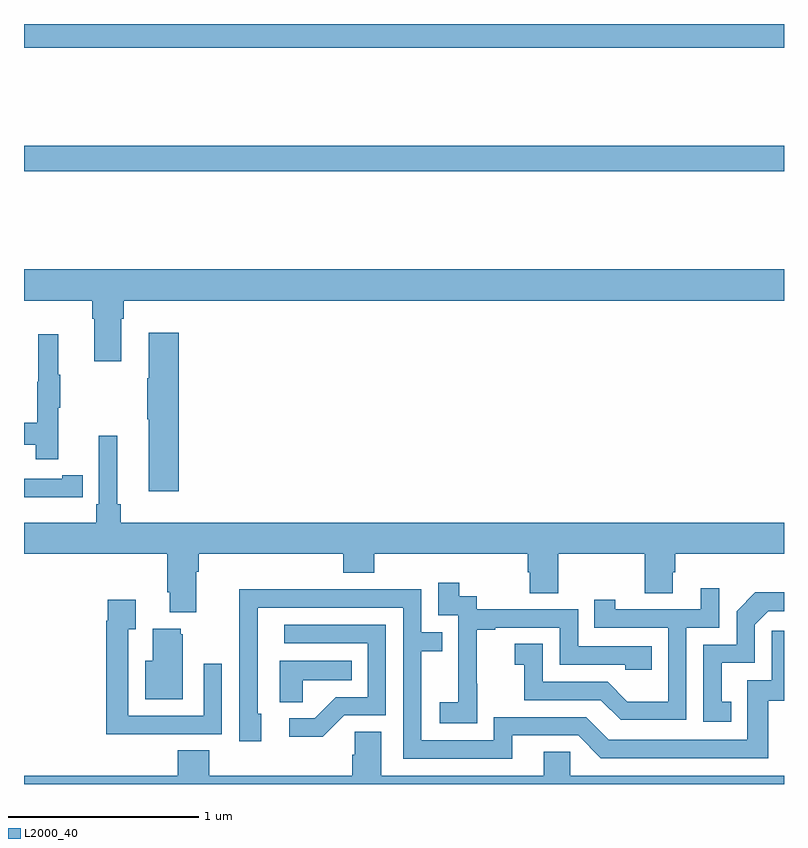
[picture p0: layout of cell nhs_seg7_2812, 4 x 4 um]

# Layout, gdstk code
import gdstk
lib = gdstk.Library(unit=1e-6, precision=1e-09)
def R(c, l, rs):  # rectangles x0, y0, x1, y1
    for r in rs: c.add(gdstk.rectangle(r[:2], r[2:], *l))
def P(c, l, *ps):  # polygons
    for p in ps: c.add(gdstk.Polygon(p, *l))
L2000_40 = (2000, 40)

nhs_seg7_2812 = lib.new_cell('nhs_seg7_2812')
R(nhs_seg7_2812, L2000_40, [(291,1073.224,295,1073.36), (291,1073.876,295,1074)])
P(nhs_seg7_2812, L2000_40, [(291.511,1072.448),(291.524,1072.448),(291.524,1072.544),(295,1072.544),(295,1072.708),(291,1072.708),(291,1072.544),(291.359,1072.544),(291.359,1072.448),(291.371,1072.448),(291.371,1072.224),(291.511,1072.224)],
  [(291.815,1072.375),(291.656,1072.375),(291.656,1072.136),(291.649,1072.136),(291.649,1071.919),(291.656,1071.919),(291.656,1071.54),(291.815,1071.54)],
  [(291.179,1071.979),(291.19,1071.979),(291.19,1072.153),(291.179,1072.153),(291.179,1072.366),(291.076,1072.366),(291.076,1072.116),(291.069,1072.116),(291.069,1071.902),(291,1071.902),(291,1071.786),(291.061,1071.786),(291.061,1071.708),(291.179,1071.708)],
  [(291.2,1071.51),(291.308,1071.51),(291.308,1071.626),(291.2,1071.626),(291.2,1071.606),(291,1071.606),(291,1071.509),(291.2,1071.509)],
  [(291.393,1071.832),(291.393,1071.472),(291.38,1071.472),(291.38,1071.376),(291,1071.376),(291,1071.212),(291.755,1071.212),(291.755,1071.01),(291.767,1071.01),(291.767,1070.903),(291.907,1070.903),(291.907,1071.116),(291.92,1071.116),(291.92,1071.212),(292.679,1071.212),(292.679,1071.113),(292.844,1071.113),(292.844,1071.212),(293.651,1071.212),(293.651,1071.114),(293.663,1071.114),(293.663,1071.004),(293.811,1071.004),(293.811,1071.212),(294.268,1071.212),(294.268,1071.004),(294.415,1071.004),(294.415,1071.114),(294.428,1071.114),(294.428,1071.212),(295,1071.212),(295,1071.376),(291.509,1071.376),(291.509,1071.472),(291.49,1071.472),(291.49,1071.832)],
  [(293.385,1070.527),(293.384,1070.527),(293.384,1070.811),(293.479,1070.811),(293.479,1070.823),(293.82,1070.823),(293.82,1070.628),(294.165,1070.628),(294.165,1070.601),(294.305,1070.601),(294.305,1070.724),(293.916,1070.724),(293.916,1070.919),(293.382,1070.919),(293.382,1070.988),(293.29,1070.988),(293.29,1071.058),(293.181,1071.058),(293.181,1070.889),(293.286,1070.889),(293.286,1070.66),(293.285,1070.66),(293.285,1070.431),(293.187,1070.431),(293.187,1070.321),(293.385,1070.321)],
  [(294.486,1070.823),(294.66,1070.823),(294.66,1071.031),(294.563,1071.031),(294.563,1070.919),(294.112,1070.919),(294.112,1070.971),(294.001,1070.971),(294.001,1070.823),(294.39,1070.823),(294.39,1070.434),(294.176,1070.434),(294.072,1070.538),(293.73,1070.538),(293.73,1070.737),(293.583,1070.737),(293.583,1070.627),(293.632,1070.627),(293.632,1070.442),(294.035,1070.442),(294.14,1070.337),(294.486,1070.337)],
  [(293.569,1070.256),(293.916,1070.256),(294.036,1070.136),(294.916,1070.136),(294.916,1070.439),(295,1070.439),(295,1070.806),(294.936,1070.806),(294.936,1070.547),(294.807,1070.547),(294.807,1070.232),(294.078,1070.232),(293.958,1070.352),(293.472,1070.352),(293.472,1070.229),(293.091,1070.229),(293.091,1070.698),(293.201,1070.698),(293.201,1070.799),(293.091,1070.799),(293.091,1071.024),(292.595,1071.024),(292.595,1071.026),(292.132,1071.026),(292.132,1070.719),(292.134,1070.719),(292.134,1070.226),(292.249,1070.226),(292.249,1070.37),(292.23,1070.37),(292.23,1070.928),(292.995,1070.928),(292.995,1070.133),(293.569,1070.133)],
  [(294.722,1070.433),(294.673,1070.433),(294.673,1070.637),(294.846,1070.637),(294.846,1070.838),(294.918,1070.91),(295,1070.91),(295,1071.008),(294.848,1071.008),(294.75,1070.91),(294.75,1070.733),(294.576,1070.733),(294.576,1070.328),(294.722,1070.328)],
  [(291.725,1070.262),(292.041,1070.262),(292.041,1070.632),(291.945,1070.632),(291.945,1070.358),(291.549,1070.358),(291.549,1070.815),(291.589,1070.815),(291.589,1070.971),(291.441,1070.971),(291.441,1070.858),(291.433,1070.858),(291.433,1070.261),(291.725,1070.261)],
  [(292.686,1070.361),(292.905,1070.361),(292.905,1070.838),(292.371,1070.838),(292.371,1070.742),(292.809,1070.742),(292.809,1070.457),(292.64,1070.457),(292.529,1070.346),(292.395,1070.346),(292.395,1070.249),(292.573,1070.249)],
  [(291.835,1070.787),(291.824,1070.787),(291.824,1070.818),(291.677,1070.818),(291.677,1070.65),(291.638,1070.65),(291.638,1070.447),(291.835,1070.447)],
  [(292.467,1070.546),(292.724,1070.546),(292.724,1070.65),(292.346,1070.65),(292.346,1070.431),(292.467,1070.431)],
  [(291.974,1070.177),(291.809,1070.177),(291.809,1070.044),(291,1070.044),(291,1070),(295,1070),(295,1070.044),(293.874,1070.044),(293.874,1070.171),(293.735,1070.171),(293.735,1070.044),(292.879,1070.044),(292.879,1070.276),(292.74,1070.276),(292.74,1070.153),(292.727,1070.153),(292.727,1070.044),(291.974,1070.044)])

lib.write_gds('nhs_seg7_2812.gds')
